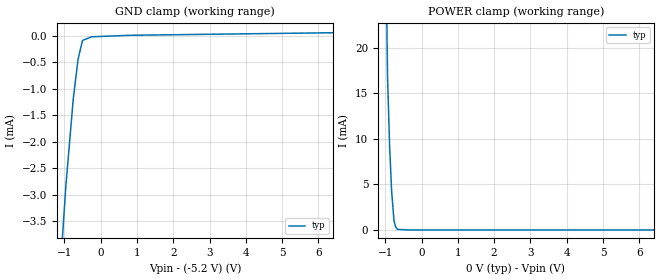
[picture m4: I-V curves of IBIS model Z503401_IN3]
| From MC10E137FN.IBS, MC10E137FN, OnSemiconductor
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| (C) COPYRIGHT 1993-2000
| MENTOR GRAPHICS CORPORATION
| ICX STANDARD LIBRARY, ICX PROJECT MODELING,
| ICX CUSTOM MODELING, ICX VENDOR MODEL
| ALL RIGHTS RESERVED.
| THE FOLLOWING ARE TRADEMARKS OR SERVICE MARKS OF
| MENTOR GRAPHICS CORPORATION:ICX (R), ICX STANDARD
| LIBRARY(R), ICX PROJECT MODELING(R), ICX CUSTOM
| MODELING(R), qualityIBIS(TM), MODELVIEWER(TM),
| AND MODELEDITOR(TM)
| ALL COPIES OF SOFTWARE, INCLUDING BUT NOT LIMITED TO
| ANY MODIFICATIONS, ENHANCEMENTS OR DERIVATIVE WORKS,
| MUST CONTAIN ALL MENTOR GRAPHICS CORPORATION'S
| NOTICES AND LEGENDS, INCLUDING THOSE EMBEDDED IN
| SOFTWARE AND THOSE AFFIXED TO SOFTWARE MEDIUM
| AND CONTAINER, AS RECEIVED FROM MENTOR GRAPHICS
| CORPORATION.
| Model Application Version 1.89 2/18/99.
[Model] Z503401_IN3
Model_type Input_ECL
Vinl = -1.480V
Vinh = -1.130V
C_comp 4.000pF NA NA
| variable typ   min   max
[Voltage Range] -5.200V NA NA
[GND Clamp Reference] -5.200V NA NA
[POWER Clamp Reference] 0.000V NA NA
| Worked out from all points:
|   GND clamp passes 1 mA (typ) near -0.72 V on its own axis
|   POWER clamp passes 1 mA (typ) near -0.76 V on its own axis
[GND Clamp]
-5.2V     -85.84mA   NA         NA
-1.519V   -10.58mA   NA         NA
-1.333V   -7.389mA   NA         NA
-1.084V   -4.101mA   NA         NA
-960mV    -2.824mA   NA         NA
-757mV    -1.188mA   NA         NA
-624mV    -439.7uA   NA         NA
-504mV    -87.78uA   NA         NA
-252mV    -17.79uA   NA         NA
808mV     10.75uA    NA         NA
10.4V     93.45uA    NA         NA
[POWER Clamp]
-5.2V     1.798A     NA         NA
-1.006V   37.8mA     NA         NA
-937.5mV  16.77mA    NA         NA
-878.5mV  8.984mA    NA         NA
-824.2mV  4.247mA    NA         NA
-760.6mV  1.058mA    NA         NA
-722.7mV  423.6uA    NA         NA
-667.1mV  65.03uA    NA         NA
-333.6mV  0A         NA         NA
10.4V     0A         NA         NA
